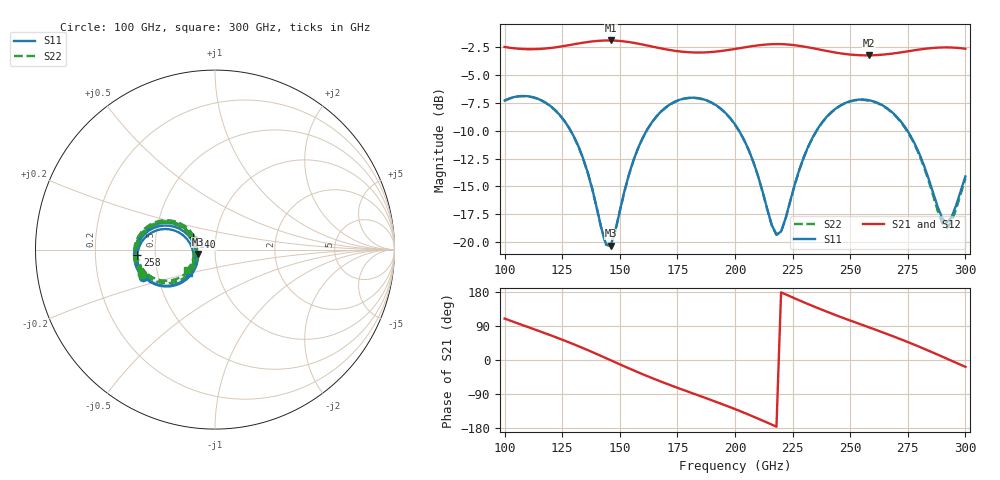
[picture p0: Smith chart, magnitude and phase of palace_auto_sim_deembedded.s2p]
! Created with skrf 1.11.0 (http://scikit-rf.org).
# GHz S DB R 50.0
!freq dBS11 angS11 dBS21 angS21 dBS12 angS12 dBS22 angS22
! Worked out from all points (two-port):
!   101 points, 100 GHz to 300 GHz, reference 50 ohm
!   highest |S21| = -1.90 dB at 146 GHz (marker M1); lowest = -3.2 dB at 258 GHz (marker M2)
!   |S21| within 3 dB of the highest: start of sweep to end of sweep
!   lowest |S11| = -20.3 dB at 146 GHz (marker M3), VSWR 1.21, Z = 41.4 - j2.02 ohm
!   |S11| at or under -10 dB: 128.7 GHz to 161.6 GHz (32.96 GHz wide, 22.7 % of centre); 201.7 GHz to 235.4 GHz (33.66 GHz wide, 15.4 % of centre); 274.8 GHz to end of sweep
!   |S22| runs from -20.4 to -6.9 dB; largest |S21 - S12| = 8.9e-14
!   S11 on the Smith chart (normalised r, x): 100 GHz: 0.41, -0.16; 140 GHz: 0.77, +0.11; 258 GHz: 0.40, -0.03; 300 GHz: 0.72, -0.20
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100  -7.29 -159.0  -2.48 109.3  -2.48 109.3  -7.31 -161.3
108  -6.88 -173.4  -2.67 91.6  -2.67 91.6  -6.89 -175.9
118  -7.50 169.1  -2.61 69.7  -2.61 69.7  -7.52 166.3
134  -12.44 145.9  -2.10 31.4  -2.10 31.4  -12.46 142.7
140  -16.92 150.2  -1.94 15.7  -1.94 15.7  -16.94 146.8
144  -20.19 174.5  -1.90 4.9  -1.90 4.9  -20.23 171.0
146  -20.32 -165.5  -1.90 -0.6  -1.90 -0.6  -20.37 -169.0
156  -12.61 -133.8  -2.11 -27.4  -2.11 -27.4  -12.64 -137.4
168  -8.25 -150.0  -2.61 -57.2  -2.61 -57.2  -8.27 -153.9
184  -7.07 -177.1  -2.98 -93.2  -2.98 -93.2  -7.09 178.5
200  -9.44 157.3  -2.66 -129.5  -2.66 -129.5  -9.45 152.5
210  -14.06 149.9  -2.34 -154.6  -2.34 -154.6  -14.08 144.8
218  -19.33 -177.2  -2.22 -176.0  -2.22 -176.0  -19.36 177.5
220  -19.05 -160.8  -2.23 178.6  -2.23 178.6  -19.08 -166.1
226  -14.79 -136.4  -2.32 162.5  -2.32 162.5  -14.81 -141.9
234  -10.49 -139.1  -2.60 141.8  -2.60 141.8  -10.51 -144.8
246  -7.70 -156.9  -3.06 113.2  -3.06 113.2  -7.73 -163.0
258  -7.25 -176.3  -3.23 86.5  -3.23 86.5  -7.29 177.2
268  -8.30 168.1  -3.08 64.0  -3.08 64.0  -8.35 161.1
280  -12.06 154.8  -2.71 34.9  -2.71 34.9  -12.17 146.9
292  -18.25 -170.2  -2.52 3.3  -2.52 3.3  -18.72 -177.2
300  -14.11 -138.0  -2.64 -18.0  -2.64 -18.0  -14.29 -143.9
